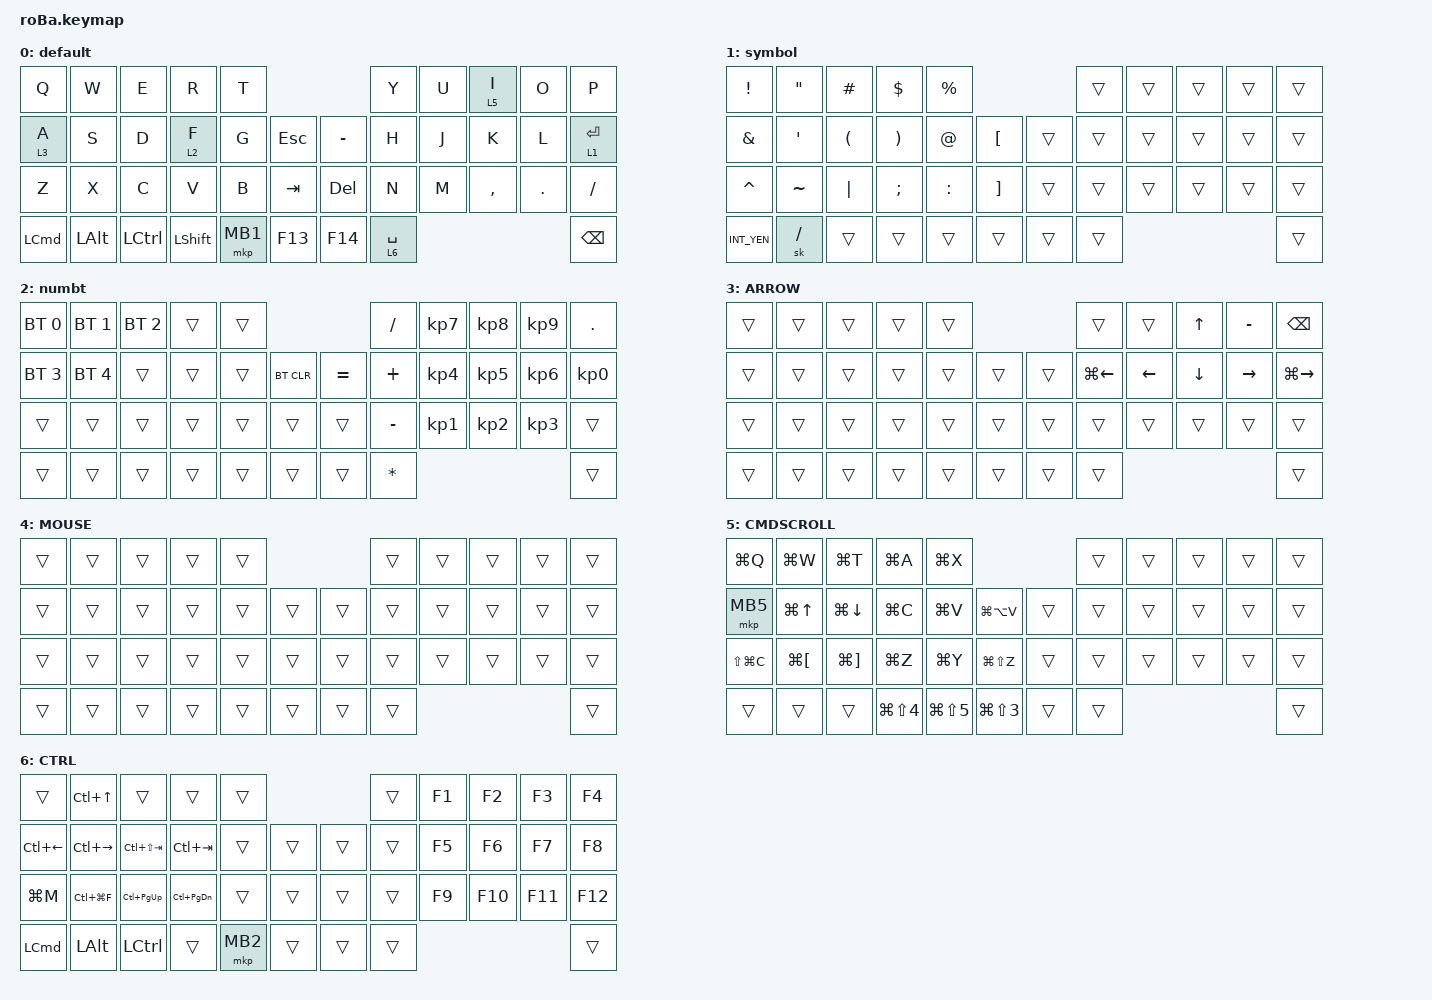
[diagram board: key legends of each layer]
#include <behaviors.dtsi>
#include <dt-bindings/zmk/bt.h>
#include <dt-bindings/zmk/keys.h>
#include <dt-bindings/zmk/pointing.h>

&trackball {
    automouse-layer = <4>;
    scroll-layers = <5>;

    // arrows {
    //     layers = <3>;
    //     bindings =
    //         <&kp RIGHT_ARROW>,
    //         <&kp LEFT_ARROW>,
    //         <&kp UP_ARROW>,
    //         <&kp DOWN_ARROW>;
    //     tick = <10>;
    //     wait-ms = <5>;
    //     tap-ms = <5>;
    // };
};

/ {
    combos {
        compatible = "zmk,combos";

        tab {
            bindings = <&none>;
            key-positions = <10 11>;
        };
    };

    keymap {
        compatible = "zmk,keymap";

        default {
            bindings = <
&kp Q             &kp W         &kp E             &kp R           &kp T                                 &kp Y        &kp U  &lt 5 I    &kp O    &kp P
&lt 3 A           &kp S         &kp D             &lt 2 F         &kp G     &kp ESCAPE      &kp MINUS   &kp H        &kp J  &kp K      &kp L    &lt 1 ENTER
&kp Z             &kp X         &kp C             &kp V           &kp B     &kp TAB         &kp DELETE  &kp N        &kp M  &kp COMMA  &kp DOT  &kp SLASH
&kp LEFT_COMMAND  &kp LEFT_ALT  &kp LEFT_CONTROL  &kp LEFT_SHIFT  &mkp MB1  &kp F13         &kp F14     &lt 6 SPACE                             &kp BACKSPACE
            >;
        };

        symbol {
            bindings = <
&kp EXCLAMATION  &kp DOUBLE_QUOTES  &kp HASH              &kp DOLLAR             &kp PERCENT                                 &trans  &trans  &trans  &trans  &trans
&kp AMPERSAND    &kp SINGLE_QUOTE   &kp LEFT_PARENTHESIS  &kp RIGHT_PARENTHESIS  &kp AT_SIGN  &kp LEFT_BRACKET       &trans  &trans  &trans  &trans  &trans  &trans
&kp CARET        &kp TILDE          &kp PIPE              &kp SEMICOLON          &kp COLON    &kp RIGHT_BRACKET      &trans  &trans  &trans  &trans  &trans  &trans
&kp INT_YEN      &sk SLASH          &trans                &trans                 &trans       &trans                 &trans  &trans                          &trans
            >;
        };

        numbt {
            bindings = <
&bt BT_SEL 0  &bt BT_SEL 1  &bt BT_SEL 2  &trans  &trans                             &kp SLASH     &kp KP_NUMBER_7  &kp KP_NUMBER_8  &kp KP_NUMBER_9  &kp PERIOD
&bt BT_SEL 3  &bt BT_SEL 4  &trans        &trans  &trans  &bt BT_CLR      &kp EQUAL  &kp PLUS      &kp KP_NUMBER_4  &kp KP_NUMBER_5  &kp KP_NUMBER_6  &kp KP_NUMBER_0
&trans        &trans        &trans        &trans  &trans  &trans          &trans     &kp MINUS     &kp KP_NUMBER_1  &kp KP_NUMBER_2  &kp KP_NUMBER_3  &trans
&trans        &trans        &trans        &trans  &trans  &trans          &trans     &kp ASTERISK                                                     &trans
            >;
        };

        ARROW {
            bindings = <
&trans  &trans  &trans  &trans  &trans                      &trans              &trans          &kp UP_ARROW    &kp MINUS        &kp BACKSPACE
&trans  &trans  &trans  &trans  &trans  &trans      &trans  &kp LG(LEFT_ARROW)  &kp LEFT_ARROW  &kp DOWN_ARROW  &kp RIGHT_ARROW  &kp LG(RIGHT_ARROW)
&trans  &trans  &trans  &trans  &trans  &trans      &trans  &trans              &trans          &trans          &trans           &trans
&trans  &trans  &trans  &trans  &trans  &trans      &trans  &trans                                                               &trans
            >;
        };

        MOUSE {
            bindings = <
&trans  &trans  &trans  &trans  &trans                      &trans  &trans  &trans  &trans  &trans
&trans  &trans  &trans  &trans  &trans  &trans      &trans  &trans  &trans  &trans  &trans  &trans
&trans  &trans  &trans  &trans  &trans  &trans      &trans  &trans  &trans  &trans  &trans  &trans
&trans  &trans  &trans  &trans  &trans  &trans      &trans  &trans                          &trans
            >;
        };

        CMDSCROLL {
            bindings = <
&kp LG(Q)      &kp LG(W)             &kp LG(T)              &kp LG(A)             &kp LG(X)                                         &trans  &trans  &trans  &trans  &trans
&mkp MB5       &kp LG(UP_ARROW)      &kp LG(DOWN_ARROW)     &kp LG(C)             &kp LG(V)       &kp LG(LA(V))             &trans  &trans  &trans  &trans  &trans  &trans
&kp LS(LG(C))  &kp LG(LEFT_BRACKET)  &kp LG(RIGHT_BRACKET)  &kp LG(Z)             &kp LG(Y)       &kp LG(LS(Z))             &trans  &trans  &trans  &trans  &trans  &trans
&trans         &trans                &trans                 &kp LG(LS(NUMBER_4))  &kp LG(LS(N5))  &kp LG(LS(NUMBER_3))      &trans  &trans                          &trans
            >;
        };

        CTRL {
            bindings = <
&trans              &kp LC(UP_ARROW)     &trans            &trans             &trans                        &trans  &kp F1  &kp F2   &kp F3   &kp F4
&kp LC(LEFT_ARROW)  &kp LC(RIGHT_ARROW)  &kp LC(LS(TAB))   &kp LC(TAB)        &trans    &trans      &trans  &trans  &kp F5  &kp F6   &kp F7   &kp F8
&kp LG(M)           &kp LC(LG(F))        &kp LC(PAGE_UP)   &kp LC(PAGE_DOWN)  &trans    &trans      &trans  &trans  &kp F9  &kp F10  &kp F11  &kp F12
&kp LEFT_COMMAND    &kp LEFT_ALT         &kp LEFT_CONTROL  &trans             &mkp MB2  &trans      &trans  &trans                            &trans
            >;
        };
    };
};
